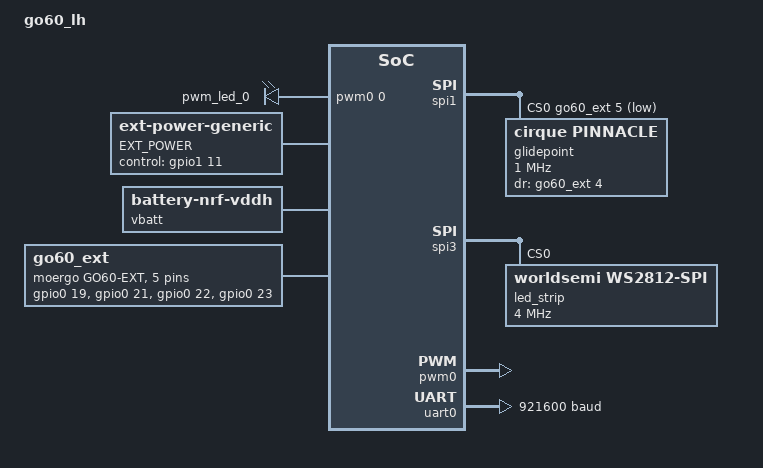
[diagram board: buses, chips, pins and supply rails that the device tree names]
/*
 * Copyright (c) 2021 The ZMK Contributors
 *
 * SPDX-License-Identifier: MIT
 */

#include "go60.dtsi"
#include "go60_lh-pinctrl.dtsi"

#include <dt-bindings/led/led.h>

/ {
    model = "go60_lh";
    compatible = "go60_lh";

    chosen {
        zmk,underglow = &led_strip;
        zmk,backlight = &back_led_backlight;
        zmk,battery   = &vbatt;
        zmk,underglow-indicators = &underglow_indicators;
    };

    back_led_backlight: pwmleds {
        compatible = "pwm-leds";
        pwm_led_0 {
            pwms = <&pwm0 0 PWM_USEC(20) PWM_POLARITY_NORMAL>;
        };
    };

    // Node name must match original "EXT_POWER" label to preserve user settings.
    EXT_POWER {
        compatible = "zmk,ext-power-generic";
        control-gpios = <&gpio1 11 GPIO_ACTIVE_HIGH>; /* WS2812_CE */
        init-delay-ms = <100>;
    };

    vbatt: vbatt {
        compatible = "zmk,battery-nrf-vddh";
    };

    /*
      Go60 LEDs
      26 22 17 12  7  3
      27 23 18 13  8  4
      28 24 19 14  9  5
      29 25 20 15 10  6
            21 16 11   0 1 2
    */
    underglow_indicators: underglow-indicators {
        compatible  = "zmk,underglow-indicators";
        layer-state = <26 22 17 12 7 3>;
        bat-lhs     = <27 23 18 13 8 4>;
        bat-rhs     = <28 24 19 14 9 5>;
        capslock    = <0>;
        numlock     = <1>;
        scrolllock  = <2>;
        output-fallback = <11>;
        ble-state   = <20 15 10 6>;
        usb-state   = <21>;
    };

    go60_ext: connector {
        compatible = "moergo,go60-ext";
        #gpio-cells = <2>;
        gpio-map-mask = <0xffffffff 0xffffffc0>;
        gpio-map-pass-thru = <0 0x3f>;
        gpio-map
            = <1 0 &gpio0 19 0>     /* EXT1 */
            , <2 0 &gpio0 21 0>     /* EXT2 */
            , <3 0 &gpio0 22 0>     /* EXT3 */
            , <4 0 &gpio0 23 0>     /* EXT4 */
            , <5 0 &gpio0 25 0>     /* EXT5 */
            ;
    };

    // Left hand Cirque
    cirque_lh_listener: cirque_lh_listener {
        compatible = "zmk,input-listener";
        device = <&glidepoint>;
    };

    // Right hand Cirque
    inputs {
        #address-cells = <1>;
        #size-cells = <0>;
        cirque_split: cirque_split@0 {
            compatible = "zmk,input-split";
            reg = <0>;
        };
    };

    cirque_rh_listener: cirque_rh_listener {
        compatible = "zmk,input-listener";
        device = <&cirque_split>;
    };
};

&spi1 {
    status = "okay";

    compatible = "nordic,nrf-spim";
    pinctrl-0 = <&spi1_default>;
    pinctrl-1 = <&spi1_sleep>;
    pinctrl-names = "default", "sleep";

    cs-gpios = <&go60_ext 5 GPIO_ACTIVE_LOW>;

    glidepoint: glidepoint@0 {
        compatible = "cirque,pinnacle";
        reg = <0>;
        spi-max-frequency = <1000000>;
        status = "okay";
        dr-gpios = <&go60_ext 4 (GPIO_ACTIVE_HIGH | GPIO_PULL_DOWN)>;

        sensitivity = "1x";
        rotate-90;
        y-invert;
        no-secondary-tap;
    };
};

&spi3 {
    compatible = "nordic,nrf-spim";
    status = "okay";

    pinctrl-0 = <&spi3_default>;
    pinctrl-1 = <&spi3_sleep>;
    pinctrl-names = "default", "sleep";

    led_strip: ws2812@0 {
        compatible = "worldsemi,ws2812-spi";

        /* SPI */
        reg = <0>; /* ignored, but necessary for SPI bindings */
        spi-max-frequency = <4000000>;

        /* WS2812 */
        chain-length = <30>;
        spi-one-frame = <0x70>;
        spi-zero-frame = <0x40>;

        color-mapping = <LED_COLOR_ID_GREEN LED_COLOR_ID_RED LED_COLOR_ID_BLUE>;
    };
};

&pwm0 {
    status = "okay";
    pinctrl-0 = <&pwm0_default>;
    pinctrl-1 = <&pwm0_sleep>;
    pinctrl-names = "default", "sleep";
};

&uart0 {
    status = "okay";
    compatible = "nordic,nrf-uarte";
    // Max stable speed with half duplex on nRF52
    current-speed = <921600>;
    /* current-speed = <460800>; */
    /* current-speed = <230400>; */
    pinctrl-0 = <&uart0_default>;
    pinctrl-1 = <&uart0_sleep>;
    pinctrl-names = "default", "sleep";
};

&kscan0 {
    row-gpios
        = <&gpio1 1 GPIO_ACTIVE_HIGH> // LH ROW1 (KEYSCAN_OUT1)
        , <&gpio1 3 GPIO_ACTIVE_HIGH> // LH ROW2 (KEYSCAN_OUT2)
        , <&gpio1 5 GPIO_ACTIVE_HIGH> // LH ROW3 (KEYSCAN_OUT3)
        , <&gpio1 7 GPIO_ACTIVE_HIGH> // LH ROW4 (KEYSCAN_OUT4)
        , <&gpio1 6 GPIO_ACTIVE_HIGH> // LH ROW5 (KEYSCAN_OUT5)
        ;
    col-gpios
        = <&gpio0 24 (GPIO_ACTIVE_HIGH | GPIO_PULL_DOWN)> // LH COL6  (KEYSCAN_IN7)
        , <&gpio0 20 (GPIO_ACTIVE_HIGH | GPIO_PULL_DOWN)> // LH COL5  (KEYSCAN_IN6)
        , <&gpio0 17 (GPIO_ACTIVE_HIGH | GPIO_PULL_DOWN)> // LH COL4  (KEYSCAN_IN5)
        , <&gpio0 15 (GPIO_ACTIVE_HIGH | GPIO_PULL_DOWN)> // LH COL3  (KEYSCAN_IN4)
        , <&gpio0 16 (GPIO_ACTIVE_HIGH | GPIO_PULL_DOWN)> // LH COL2  (KEYSCAN_IN3)
        , <&gpio0 13 (GPIO_ACTIVE_HIGH | GPIO_PULL_DOWN)> // LH COL1  (KEYSCAN_IN2)
        , <&gpio0 14 (GPIO_ACTIVE_HIGH | GPIO_PULL_DOWN)> // LH Thumb (KEYSCAN_IN1)
        ;
};
